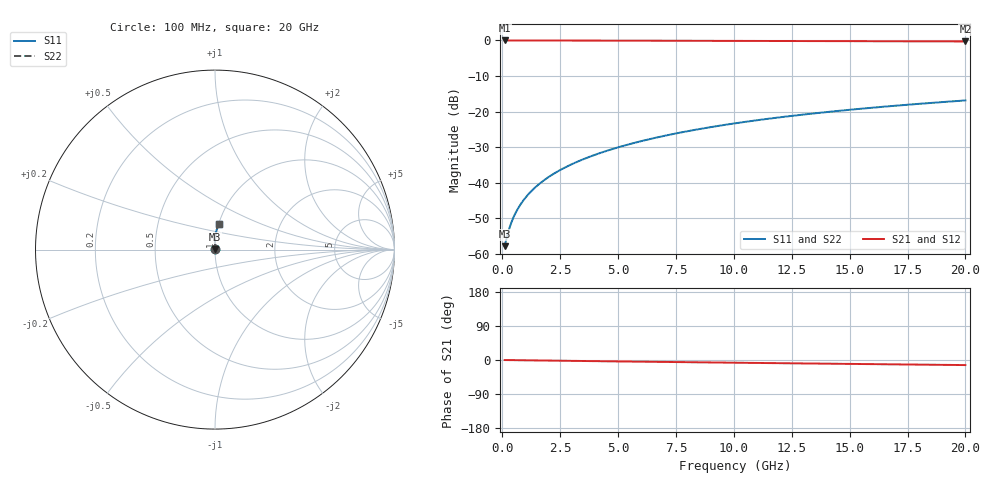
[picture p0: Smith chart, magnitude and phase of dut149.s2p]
! Touchstone file exported from HFSS 2024.1.0
!  File:  C:/UserFiles/LocalFiles/RDL_TSV_Batchsim/temp_RDL_bottom_149_1778697302.aedt
!  Generated:  02:37:02 AM May 14, 2026
!  Design:  RDL_bottom
!  Project:  temp_RDL_bottom_149_1778697302
!  Setup:  Setup1
!  Solution:  Sweep
! Variables:
!  dtsv = 10.80580581um
!  hbump = 3um
!  htsv = 51.26um
!  ldown = 168.43um
!  lrdl = 100um
!  p = 40
!  p1 = 46.58um
!  rhole = 1um
!  t = 450um
!  tdown = 3.02um
!  trdl = 3.915915916um
!  wdown = 24um
!  wrdl = 20um
# GHz S MA R 50.000000
! Terminal data exported
! Port[1] = RDL1_T1
! Port[2] = RDL1_T2
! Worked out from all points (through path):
!   200 points, 100 MHz to 20 GHz, reference 50 ohm
!   highest |S21| = -0.01 dB at 100 MHz (marker M1); lowest = -0.3 dB at 20 GHz (marker M2)
!   group delay of S21, straight-line fit = 1.84 ps
!   lowest |S11| = -57.8 dB at 100 MHz (marker M3), VSWR 1.00, Z = 50.1 + j0.0668 ohm
!   |S11| at or under -10 dB: start of sweep to end of sweep
!   |S22| runs from -57.8 to -16.9 dB; largest |S21 - S12| = 4.1e-15
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0.1  0.001287 31.2  0.9989 -0.1  0.9989 -0.1  0.001287 31.2
! Gamma 0 0 0 0
! Port Impedance 50 0 50 0
0.2  0.001739 49.0  0.9988 -0.2  0.9988 -0.2  0.001739 49.0
0.3  0.002268 58.4  0.9988 -0.2  0.9988 -0.2  0.002268 58.4
0.4  0.002814 64.1  0.9987 -0.3  0.9987 -0.3  0.002814 64.1
0.5  0.003364 68.1  0.9986 -0.4  0.9986 -0.4  0.003364 68.1
0.6  0.003917 71.0  0.9986 -0.5  0.9986 -0.5  0.003917 71.0
0.8  0.005034 75.2  0.9985 -0.6  0.9985 -0.6  0.005034 75.2
1.1  0.006742 79.3  0.9983 -0.9  0.9983 -0.9  0.006742 79.3
1.3  0.007899 81.2  0.9982 -1.0  0.9982 -1.0  0.007899 81.2
1.6  0.009661 83.3  0.9979 -1.2  0.9979 -1.2  0.009661 83.3
2.1  0.01266 85.6  0.9975 -1.6  0.9975 -1.6  0.01266 85.7
2.7  0.01635 87.5  0.9968 -2.1  0.9968 -2.1  0.01635 87.5
3.5  0.02143 89.1  0.9957 -2.7  0.9957 -2.7  0.02143 89.1
4.2  0.02604 90.0  0.9946 -3.2  0.9946 -3.2  0.02604 90.0
5  0.03146 90.5  0.9933 -3.8  0.9933 -3.8  0.03146 90.5
5.9  0.03776 90.8  0.9917 -4.4  0.9917 -4.4  0.03776 90.8
6.8  0.04422 90.8  0.9901 -5.0  0.9901 -5.0  0.04422 90.8
8.4  0.05602 90.3  0.9871 -6.1  0.9871 -6.1  0.05602 90.3
10.1  0.06882 89.3  0.9841 -7.2  0.9841 -7.2  0.06882 89.3
13.4  0.09392 87.0  0.9785 -9.3  0.9785 -9.3  0.09392 87.0
16.7  0.1189 84.4  0.9732 -11.4  0.9732 -11.4  0.1189 84.4
20  0.1435 81.8  0.9679 -13.4  0.9679 -13.4  0.1435 81.8
